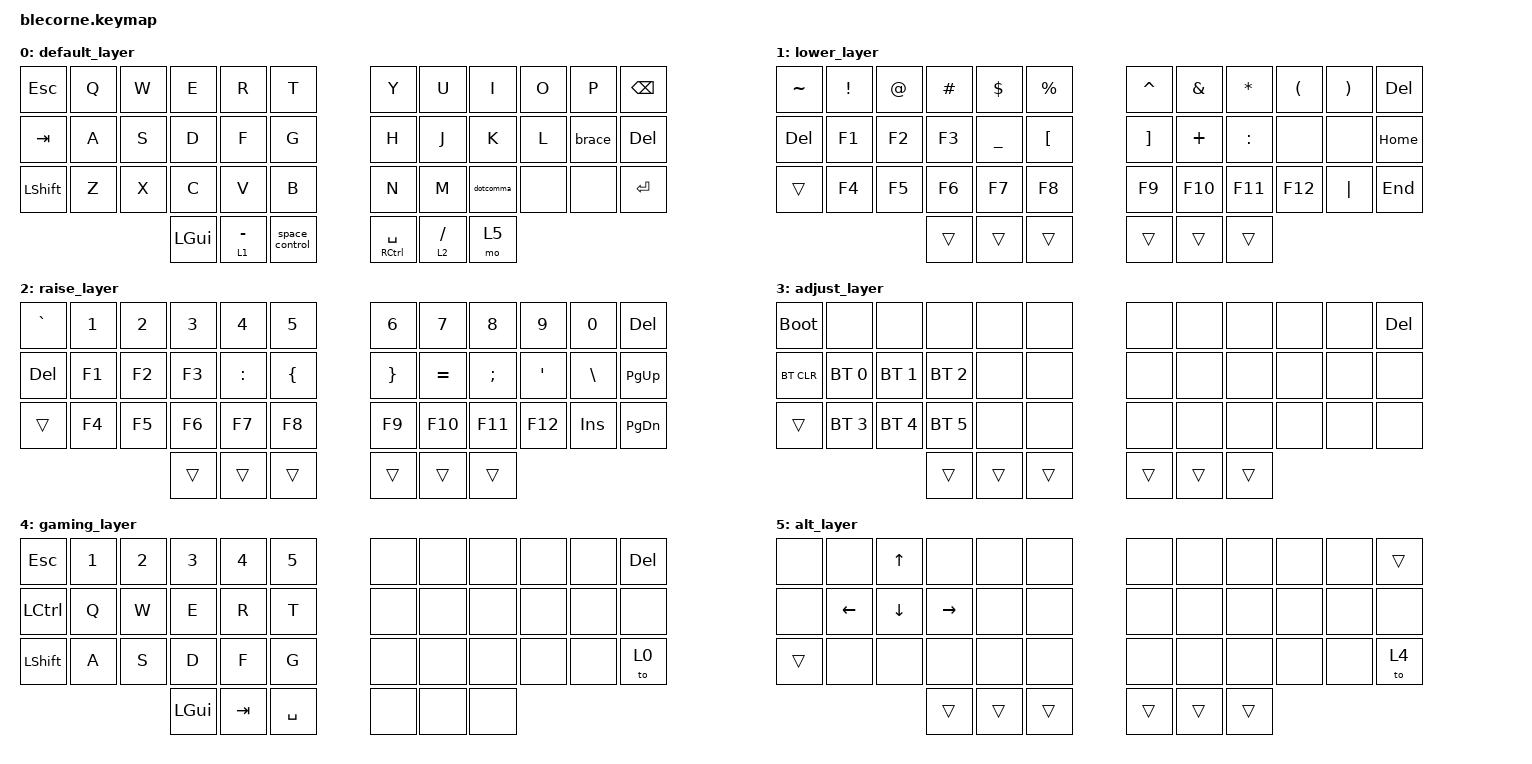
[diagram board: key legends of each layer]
/*
 * Copyright (c) 2020 The ZMK Contributors
 * SPDX-License-Identifier: MIT
 */

#include <behaviors.dtsi>
#include <dt-bindings/zmk/keys.h>
#include <dt-bindings/zmk/bt.h>


/ {
    chosen {
        zmk,physical-layout = &foostan_corne_6col_layout;
        // zmk,physical-layout = &foostan_corne_5col_layout;
    };
};

/ {
    conditional_layers {
        compatible = "zmk,conditional-layers";
        tri_layer {
            if-layers = <1 2>;
            then-layer = <3>;
        };
    };
};

/ {
    behaviors {
        dotcomma: tap_dance_0 {
            compatible = "zmk,behavior-tap-dance";
            #binding-cells = <0>;
            tapping-term-ms = <200>;
            bindings = <&kp DOT>, <&kp COMMA>;
        };

        brace: tap_dance_1 {
            compatible = "zmk,behavior-tap-dance";
            #binding-cells = <0>;
            tapping-term-ms = <200>;
            bindings = <&kp LBKT>, <&kp RBKT>;
        };
        
        paren: tap_dance_2 {
            compatible = "zmk,behavior-tap-dance";
            #binding-cells = <0>;
            tapping-term-ms = <200>;
            bindings = <&kp LPRN>, <&kp RPRN>;
        };
        
        bssc: tap_dance_3 {
            compatible = "zmk,behavior-tap-dance";
            #binding-cells = <0>;
            tapping-term-ms = <200>;
            bindings = <&kp FSLH>, <&kp SCLN>;
        };

        space_control: tap_dance_4 {
            compatible = "zmk,behavior-tap-dance";
            #binding-cells = <0>;
            tapping-term-ms = <200>;
            bindings = <&kp SPACE>, <&kp RCTRL>;
        };
    };

    keymap {
        compatible = "zmk,keymap";

        default_layer {
            bindings = <
                &kp ESC   &kp Q &kp W &kp E &kp R &kp T     &kp Y &kp U  &kp I     &kp O   &kp P    &kp BSPC
                &kp TAB   &kp A &kp S &kp D &kp F &kp G     &kp H &kp J  &kp K     &kp L   &brace   &kp DEL 
                &kp LSHFT &kp Z &kp X &kp C &kp V &kp B     &kp N &kp M  &dotcomma &none   &none    &kp RET
                    &kp LGUI &lt 1 MINUS &space_control     &mt RCTRL SPACE &lt 2 FSLH &mo 5
            >;
        };

        lower_layer {
            bindings = <
                &kp TILDE &kp EXCL &kp AT &kp HASH &kp DLLR  &kp PRCNT    &kp CARET &kp AMPS &kp ASTRK &kp LPAR  &kp RPAR &kp DEL
                &kp DEL   &kp F1   &kp F2 &kp F3   &kp UNDER &kp LBKT     &kp RBKT  &kp PLUS &kp COLON &none     &none    &kp HOME
                &trans    &kp F4   &kp F5 &kp F6   &kp F7    &kp F8       &kp F9    &kp F10  &kp F11   &kp F12   &kp PIPE &kp END 
                                          &trans   &trans    &trans       &trans    &trans   &trans
            >;
        };

        raise_layer {
            bindings = <
                &kp GRAVE &kp N1   &kp N2 &kp N3   &kp N4    &kp N5       &kp N6    &kp N7  &kp N8    &kp N9  &kp N0   &kp DEL
                &kp DEL   &kp F1   &kp F2 &kp F3   &kp COLON &kp LBRC     &kp RBRC  &kp EQL &kp SEMI  &kp SQT &kp BSLH &kp PG_UP
                &trans    &kp F4   &kp F5 &kp F6   &kp F7    &kp F8       &kp F9    &kp F10 &kp F11   &kp F12 &kp INS  &kp PG_DN 
                                          &trans   &trans    &trans       &trans    &trans   &trans
            >;
        };
        
        adjust_layer {
            bindings = <
                &bootloader &none        &none        &none        &none  &none     &none  &none  &none &none &none &kp DEL
                &bt BT_CLR  &bt BT_SEL 0 &bt BT_SEL 1 &bt BT_SEL 2 &none  &none     &none  &none  &none &none &none &none
                &trans      &bt BT_SEL 3 &bt BT_SEL 4 &bt BT_SEL 5 &none  &none     &none  &none  &none &none &none &none
                                                      &trans       &trans &trans    &trans &trans &trans 
            >;
        };
        
        gaming_layer {
            bindings = <
                &kp ESC   &kp N1 &kp N2 &kp N3  &kp N4 &kp N5         &none  &none &none &none &none &kp DEL
                &kp LCTRL &kp Q  &kp W  &kp E   &kp R  &kp T          &none  &none &none &none &none &none
                &kp LSHFT &kp A  &kp S  &kp D   &kp F  &kp G          &none  &none &none &none &none &to 0
                                         &kp LGUI &kp TAB &kp SPACE   &none &none &none
            >;
        };
        
        alt_layer {
            bindings = <
                &none       &none        &kp UP       &none        &none  &none     &none  &none  &none &none &none &trans
                &none       &kp LEFT     &kp DOWN     &kp RIGHT    &none  &none     &none  &none  &none &none &none &none
                &trans      &none        &none        &none        &none  &none     &none  &none  &none &none &none &to 4
                                                      &trans       &trans &trans    &trans &trans &trans 
            >;
        };
    };
};
